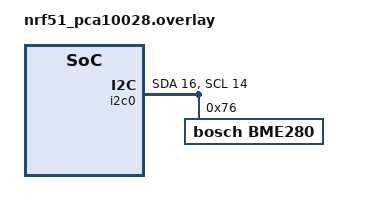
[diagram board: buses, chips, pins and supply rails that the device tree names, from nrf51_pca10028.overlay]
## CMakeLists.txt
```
# SPDX-License-Identifier: Apache-2.0

cmake_minimum_required(VERSION 3.13.1)
include($ENV{ZEPHYR_BASE}/cmake/app/boilerplate.cmake NO_POLICY_SCOPE)
project(peripheral)

FILE(GLOB app_sources src/*.c)
target_sources(app PRIVATE
  ${app_sources}
  )
```

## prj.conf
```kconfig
CONFIG_BT=y
CONFIG_BT_PERIPHERAL=y
CONFIG_BT_SMP=y
CONFIG_TINYCRYPT=y
CONFIG_BT_DEVICE_NAME="ESP peripheral"
CONFIG_BT_DIS=y
CONFIG_BT_DIS_PNP=n
CONFIG_BT_BAS=y
CONFIG_BT_DEVICE_APPEARANCE=768
CONFIG_SENSOR=y
CONFIG_BME280=y
CONFIG_I2C=y
```

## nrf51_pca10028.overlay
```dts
/*
 * Copyright (c) 2019 Nordic Semiconductor ASA
 *
 * SPDX-License-Identifier: Apache-2.0
 */

&i2c0 {
	status = "okay";
	sda-pin = <16>;
	scl-pin = <14>;
	bme280@76 {
		compatible = "bosch,bme280";
		reg = <0x76>;
		label = "BME280";
	};
};
```

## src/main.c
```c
/* main.c - Application main entry point */

#include <stdbool.h>
#include <zephyr/types.h>
#include <stddef.h>
#include <string.h>
#include <errno.h>
#include <sys/printk.h>
#include <sys/byteorder.h>
#include <zephyr.h>
#include <devicetree.h>

#include <bluetooth/bluetooth.h>
#include <bluetooth/hci.h>
#include <bluetooth/conn.h>
#include <bluetooth/uuid.h>
#include <bluetooth/gatt.h>
#include <bluetooth/services/bas.h>

//dht includes
#include <device.h>
#include <drivers/sensor.h>

//user includes
#include "m_utils.h"

#define BME280 DT_INST(0, bosch_bme280)

#if DT_NODE_HAS_STATUS(BME280, okay)
#define BME280_LABEL DT_LABEL(BME280)
#else
#error No enabled nodes with compatible "bosch,bme280"
#define BME280_LABEL "<none>"
#endif

static bool simulate_temp;

static struct temperature_sensor sensor_temp = {
	.temp_value = 1200,
	.lower_limit = -10000,
	.upper_limit = 10000,
	.condition = ESS_VALUE_CHANGED,
	.meas.sampling_func = 0x00,
	.meas.meas_period = 0x01,
	.meas.update_interval = SENSOR_1_UPDATE_IVAL,
	.meas.application = 0x1c,
	.meas.meas_uncertainty = 0x04,
};

static struct humidity_sensor sensor_3 = {
	.humid_value = 6233,
	.meas.sampling_func = 0x02,
	.meas.meas_period = 0x0e10,
	.meas.update_interval = SENSOR_3_UPDATE_IVAL,
	.meas.application = 0x1c,
	.meas.meas_uncertainty = 0x01,
};

static struct pressure_sensor sensor_pres = {
	.pressure_value = 10,
	.meas.sampling_func = 0x00,
	.meas.meas_period = 0x01,
	.meas.update_interval = SENSOR_PRES_UPDATE_IVAL,
	.meas.application = 0x1c,
	.meas.meas_uncertainty = 0x01,
};

static void temp_ccc_cfg_changed(const struct bt_gatt_attr *attr,
								 uint16_t value)
{
	simulate_temp = value == BT_GATT_CCC_NOTIFY;
}

struct read_es_measurement_rp
{
	uint16_t flags; /* Reserved for Future Use */
	uint8_t sampling_function;
	uint8_t measurement_period[3];
	uint8_t update_interval[3];
	uint8_t application;
	uint8_t measurement_uncertainty;
} __packed;

static ssize_t read_u16(struct bt_conn *conn, const struct bt_gatt_attr *attr,
						void *buf, uint16_t len, uint16_t offset)
{
	const uint16_t *u16 = attr->user_data;
	uint16_t value = sys_cpu_to_le16(*u16);

	return bt_gatt_attr_read(conn, attr, buf, len, offset, &value,
							 sizeof(value));
}

static ssize_t read_es_measurement(struct bt_conn *conn,
								   const struct bt_gatt_attr *attr, void *buf,
								   uint16_t len, uint16_t offset)
{
	const struct es_measurement *value = attr->user_data;
	struct read_es_measurement_rp rsp;

	rsp.flags = sys_cpu_to_le16(value->flags);
	rsp.sampling_function = value->sampling_func;
	sys_put_le24(value->meas_period, rsp.measurement_period);
	sys_put_le24(value->update_interval, rsp.update_interval);
	rsp.application = value->application;
	rsp.measurement_uncertainty = value->meas_uncertainty;

	return bt_gatt_attr_read(conn, attr, buf, len, offset, &rsp,
							 sizeof(rsp));
}

static ssize_t read_temp_valid_range(struct bt_conn *conn,
									 const struct bt_gatt_attr *attr, void *buf,
									 uint16_t len, uint16_t offset)
{
	const struct temperature_sensor *sensor = attr->user_data;
	uint16_t tmp[] = {sys_cpu_to_le16(sensor->lower_limit),
				   sys_cpu_to_le16(sensor->upper_limit)};

	return bt_gatt_attr_read(conn, attr, buf, len, offset, tmp,
							 sizeof(tmp));
}

static ssize_t read_temp_trigger_setting(struct bt_conn *conn,
										 const struct bt_gatt_attr *attr,
										 void *buf, uint16_t len,
										 uint16_t offset)
{
	const struct temperature_sensor *sensor = attr->user_data;

	switch (sensor->condition)
	{
	/* Operand N/A */
	case ESS_TRIGGER_INACTIVE:
		/* fallthrough */
	case ESS_VALUE_CHANGED:
		return bt_gatt_attr_read(conn, attr, buf, len, offset,
								 &sensor->condition,
								 sizeof(sensor->condition));
	/* Seconds */
	case ESS_FIXED_TIME_INTERVAL:
		/* fallthrough */
	case ESS_NO_LESS_THAN_SPECIFIED_TIME:
	{
		struct es_trigger_setting_seconds rp;

		rp.condition = sensor->condition;
		sys_put_le24(sensor->seconds, rp.sec);

		return bt_gatt_attr_read(conn, attr, buf, len, offset,
								 &rp, sizeof(rp));
	}
	/* Reference temperature */
	default:
	{
		struct es_trigger_setting_reference rp;

		rp.condition = sensor->condition;
		rp.ref_val = sys_cpu_to_le16(sensor->ref_val);

		return bt_gatt_attr_read(conn, attr, buf, len, offset,
								 &rp, sizeof(rp));
	}
	}
}

static bool check_condition(uint8_t condition, int16_t old_val, int16_t new_val,
							int16_t ref_val)
{
	switch (condition)
	{
	case ESS_TRIGGER_INACTIVE:
		return false;
	case ESS_FIXED_TIME_INTERVAL:
	case ESS_NO_LESS_THAN_SPECIFIED_TIME:
		/* TODO: Check time requirements */
		return false;
	case ESS_VALUE_CHANGED:
		return new_val != old_val;
	case ESS_LESS_THAN_REF_VALUE:
		return new_val < ref_val;
	case ESS_LESS_OR_EQUAL_TO_REF_VALUE:
		return new_val <= ref_val;
	case ESS_GREATER_THAN_REF_VALUE:
		return new_val > ref_val;
	case ESS_GREATER_OR_EQUAL_TO_REF_VALUE:
		return new_val >= ref_val;
	case ESS_EQUAL_TO_REF_VALUE:
		return new_val == ref_val;
	case ESS_NOT_EQUAL_TO_REF_VALUE:
		return new_val != ref_val;
	default:
		return false;
	}
}

/* Write new value to the sensor's struct */
static void update_temperature(struct bt_conn *conn,
							   const struct bt_gatt_attr *chrc, int32_t value,
							   struct temperature_sensor *sensor)
{
	bool notify = check_condition(sensor->condition,
								  sensor->temp_value, value,
								  sensor->ref_val);

	/* Update temperature value */
	sensor->temp_value = value;

	/* Trigger notification if conditions are met */
	if (notify)
	{
		value = sys_cpu_to_le32(sensor->temp_value);

		bt_gatt_notify(conn, chrc, &value, sizeof(value));
	}
}

BT_GATT_SERVICE_DEFINE(ess_svc,
					   BT_GATT_PRIMARY_SERVICE(BT_UUID_ESS),

					   /* Temperature Sensor 1 */
					   BT_GATT_CHARACTERISTIC(BT_UUID_TEMPERATURE,
											  BT_GATT_CHRC_READ | BT_GATT_CHRC_NOTIFY,
											  BT_GATT_PERM_READ,
											  read_u16, NULL, &sensor_temp.temp_value),
					   BT_GATT_DESCRIPTOR(BT_UUID_ES_MEASUREMENT, BT_GATT_PERM_READ,
										  read_es_measurement, NULL, &sensor_temp.meas),
					   BT_GATT_CUD(SENSOR_1_NAME, BT_GATT_PERM_READ),
					   BT_GATT_DESCRIPTOR(BT_UUID_VALID_RANGE, BT_GATT_PERM_READ,
										  read_temp_valid_range, NULL, &sensor_temp),
					   BT_GATT_DESCRIPTOR(BT_UUID_ES_TRIGGER_SETTING,
										  BT_GATT_PERM_READ, read_temp_trigger_setting,
										  NULL, &sensor_temp),
					   BT_GATT_CCC(temp_ccc_cfg_changed,
								   BT_GATT_PERM_READ | BT_GATT_PERM_WRITE),

					   /* Humidity Sensor */
					   BT_GATT_CHARACTERISTIC(BT_UUID_HUMIDITY,
											  BT_GATT_CHRC_READ | BT_GATT_CHRC_NOTIFY,
											  BT_GATT_PERM_READ,
											  read_u16, NULL, &sensor_3.humid_value),
					   BT_GATT_CUD(SENSOR_3_NAME, BT_GATT_PERM_READ),
					   BT_GATT_DESCRIPTOR(BT_UUID_ES_MEASUREMENT, BT_GATT_PERM_READ,
										  read_es_measurement, NULL, &sensor_3.meas),

					   /* Pressure Sensor */
					   BT_GATT_CHARACTERISTIC(BT_UUID_PRESSURE,
											  BT_GATT_CHRC_READ | BT_GATT_CHRC_NOTIFY,
											  BT_GATT_PERM_READ,
											  read_u16, NULL, &sensor_pres.pressure_value),
					   BT_GATT_CUD(SENSOR_PRES_NAME, BT_GATT_PERM_READ),
					   BT_GATT_DESCRIPTOR(BT_UUID_ES_MEASUREMENT, BT_GATT_PERM_READ,
										  read_es_measurement, NULL, &sensor_pres.meas), );

static const struct bt_data ad[] = {
	BT_DATA_BYTES(BT_DATA_FLAGS, (BT_LE_AD_GENERAL | BT_LE_AD_NO_BREDR)),
	BT_DATA_BYTES(BT_DATA_GAP_APPEARANCE, 0x00, 0x03), // seems not needed
	BT_DATA_BYTES(BT_DATA_UUID16_ALL, 0x1a, 0x18),	   //https://www.bluetooth.com/specifications/gatt/services/
													   // BT_DATA_BYTES(BT_DATA_UUID16_ALL, 0x1a),
													   /* TODO: Include Service Data AD */
};

static void connected(struct bt_conn *conn, uint8_t err)
{
	if (err)
	{
		printk("Connection failed (err 0x%02x)\n", err);
	}
	else
	{
		printk("Connected\n");
	}
}

static void disconnected(struct bt_conn *conn, uint8_t reason)
{
	printk("Disconnected (reason 0x%02x)\n", reason);
}

static struct bt_conn_cb conn_callbacks = {
	.connected = connected,
	.disconnected = disconnected,
};

static void bt_ready(void)
{
	int err;

	printk("Bluetooth initialized\n");

	err = bt_le_adv_start(BT_LE_ADV_CONN_NAME, ad, ARRAY_SIZE(ad), NULL, 0);
	if (err)
	{
		printk("Advertising failed to start (err %d)\n", err);
		return;
	}

	printk("Advertising successfully started\n");
}



static void auth_passkey_display(struct bt_conn *conn, unsigned int passkey)
{
	char addr[BT_ADDR_LE_STR_LEN];

	bt_addr_le_to_str(bt_conn_get_dst(conn), addr, sizeof(addr));

	printk("Passkey for %s: %06u\n", addr, passkey);
}

static void auth_cancel(struct bt_conn *conn)
{
	char addr[BT_ADDR_LE_STR_LEN];

	bt_addr_le_to_str(bt_conn_get_dst(conn), addr, sizeof(addr));

	printk("Pairing cancelled: %s\n", addr);
}

static struct bt_conn_auth_cb auth_cb_display = {
	.passkey_display = auth_passkey_display,
	.passkey_entry = NULL,
	.cancel = auth_cancel,
};

static struct bme280_readings read_bme(void)
{
	const struct device *dev = device_get_binding(BME280_LABEL);
	struct bme280_readings bme280_readings;

	if (dev == NULL)
	{
		printk("No device \"%s\" found; did initialization fail?\n",
		       BME280_LABEL);
		return;
	}
	else{
		printk("Found device \"%s\"\n", BME280_LABEL);
	}

	int rc = sensor_sample_fetch(dev);

	if (rc != 0)
	{
		printk("Sensor fetch failed: %d\n", rc);
	}

	rc = sensor_channel_get(dev, SENSOR_CHAN_AMBIENT_TEMP,
							&bme280_readings.temperature);
	if (rc == 0)
	{
		rc = sensor_channel_get(dev, SENSOR_CHAN_PRESS,
								&bme280_readings.pressure);
		rc = sensor_channel_get(dev, SENSOR_CHAN_HUMIDITY,
								&bme280_readings.humidity);
	}
	if (rc != 0)
	{
		printk("get failed: %d\n", rc);
	}

	return bme280_readings;
}

void main(void)
{
	int err;
	printk("Enter main\n");
	read_bme();

	err = bt_enable(NULL);
	if (err)
	{
		printk("Bluetooth init failed (err %d)\n", err);
		return;
	}

	bt_ready(); //BAS registering happens in kconfig!

	bt_conn_cb_register(&conn_callbacks);
	bt_conn_auth_cb_register(&auth_cb_display);

	while (1)
	{

		/* Temperature simulation */
		struct bme280_readings val = read_bme();

		int32_t temp_val;
		int32_t hum_val;
		uint32_t pressure_val;
		temp_val = val.temperature.val1 * 100 + (double)val.temperature.val2 / 10000;
		hum_val = val.humidity.val1;
		pressure_val = (val.pressure.val1 * 10) + (double)val.pressure.val2 / 100000;

		update_temperature(NULL, &ess_svc.attrs[2], temp_val, &sensor_temp);
		sensor_3.humid_value = hum_val * 100;	   //this is one-time write, yet it updates
		sensor_pres.pressure_value = pressure_val; // for hPa

		k_sleep(K_SECONDS(SLEEP_S));
	}
}
```

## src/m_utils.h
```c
#ifndef M_UTILS_H_
#define M_UTILS_H_

#include <stdbool.h>
#include <zephyr/types.h>
#include <stddef.h>
#include <string.h>
#include <errno.h>
#include <sys/printk.h>
#include <sys/byteorder.h>
#include <zephyr.h>

#include <bluetooth/bluetooth.h>
#include <bluetooth/hci.h>
#include <bluetooth/conn.h>
#include <bluetooth/uuid.h>
#include <bluetooth/gatt.h>
#include <bluetooth/services/bas.h>

#include <device.h>
#include <drivers/sensor.h>

#define SENSOR_1_NAME "Temperature Sensor 1"
#define SENSOR_3_NAME "Humidity Sensor"
#define SENSOR_PRES_NAME "Pressure Sensor"

/* Sensor Internal Update Interval [seconds] */
#define SENSOR_1_UPDATE_IVAL 5
#define SENSOR_3_UPDATE_IVAL 60
#define SENSOR_PRES_UPDATE_IVAL 60

/* ESS error definitions */
#define ESS_ERR_WRITE_REJECT 0x80
#define ESS_ERR_COND_NOT_SUPP 0x81

/* ESS Trigger Setting conditions */
#define ESS_TRIGGER_INACTIVE 0x00
#define ESS_FIXED_TIME_INTERVAL 0x01
#define ESS_NO_LESS_THAN_SPECIFIED_TIME 0x02
#define ESS_VALUE_CHANGED 0x03
#define ESS_LESS_THAN_REF_VALUE 0x04
#define ESS_LESS_OR_EQUAL_TO_REF_VALUE 0x05
#define ESS_GREATER_THAN_REF_VALUE 0x06
#define ESS_GREATER_OR_EQUAL_TO_REF_VALUE 0x07
#define ESS_EQUAL_TO_REF_VALUE 0x08
#define ESS_NOT_EQUAL_TO_REF_VALUE 0x09

/* Main sleep interval */
#define SLEEP_S 840U

/* Environmental Sensing Service Declaration */

struct es_measurement
{
	uint16_t flags; /* Reserved for Future Use */
	uint8_t sampling_func;
	uint32_t meas_period;
	uint32_t update_interval;
	uint8_t application;
	uint8_t meas_uncertainty;
};

struct temperature_sensor
{
	int32_t temp_value;

	/* Valid Range */
	int16_t lower_limit;
	int16_t upper_limit;

	/* ES trigger setting - Value Notification condition */
	uint8_t condition;
	union {
		uint32_t seconds;
		int16_t ref_val; /* Reference temperature */
	};

	struct es_measurement meas;
};

struct humidity_sensor
{
	int16_t humid_value;

	struct es_measurement meas;
};

struct pressure_sensor
{
	int16_t pressure_value;

	struct es_measurement meas;
};

struct bme280_readings
{
	struct sensor_value temperature;
	struct sensor_value humidity;
	struct sensor_value pressure;
};

struct es_trigger_setting_seconds
{
	uint8_t condition;
	uint8_t sec[3];
} __packed;

struct es_trigger_setting_reference
{
	uint8_t condition;
	int16_t ref_val;
} __packed;

#endif /* M_UTILS_H_ */
```
